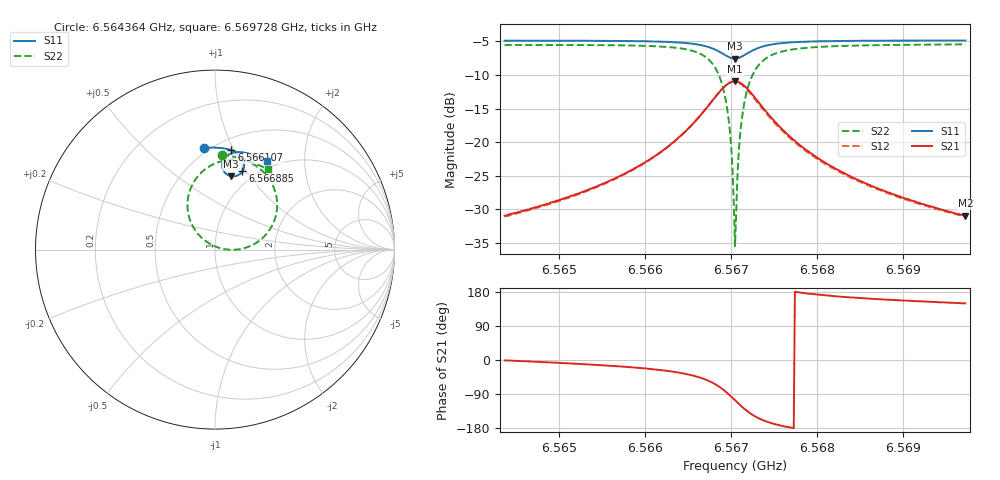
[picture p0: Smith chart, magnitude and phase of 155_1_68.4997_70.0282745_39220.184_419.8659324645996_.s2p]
#  HZ  S  RI  R  50.00
! Rohde & Schwarz Vector Network Analyzer
! Rohde-Schwarz,ZNB20-2Port,1311601062101988,3.16
! Created: UTC 3/20/2024, 4:55:32 PM
! freq[Hz]  re:S11  im:S11  re:S21  im:S21  re:S12  im:S12  re:S22  im:S22
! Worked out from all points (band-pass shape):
!   401 points, 6.564364 GHz to 6.569728 GHz, reference 50 ohm
!   highest |S21| = -10.94 dB at 6.567046 GHz (marker M1); lowest = -30.9 dB at 6.569728 GHz (marker M2)
!   |S21| within 3 dB of the highest: 6.566775 GHz to 6.567314 GHz (538.4 kHz wide, 0.0082 % of centre)
!   lowest |S11| = -7.6 dB at 6.567046 GHz (marker M3), VSWR 2.44, Z = 41.2 + j40.9 ohm
!   |S11| at or under -10 dB: nowhere
!   |S22| runs from -35.5 to -5.4 dB; largest |S21 - S12| = 0.014
!   S11 on the Smith chart (normalised r, x): 6.564364 GHz: 0.47, +0.78; 6.566107 GHz: 0.61, +0.98; 6.566885 GHz: 0.87, +0.96; 6.569728 GHz: 0.91, +1.32
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6.5643641e9  -0.0617 0.5659  0.0284 -0.000481  0.0279 -0.000981  0.0394 0.5268
6.5652626e9  0.0121 0.5679  0.0417 -0.00794  0.041 -0.00847  0.1254 0.5128
6.5661073e9  0.0914 0.5536  0.0713 -0.0328  0.0703 -0.0337  0.2373 0.4603
6.566161e9  0.0972 0.5514  0.0746 -0.0364  0.0732 -0.0372  0.2468 0.453
6.566456e9  0.1315 0.5318  0.0957 -0.0694  0.0943 -0.0708  0.3058 0.3875
6.5666705e9  0.1564 0.5001  0.1094 -0.1248  0.1068 -0.1274  0.3444 0.2804
6.5667912e9  0.1627 0.4684  0.1012 -0.1805  0.0967 -0.1838  0.3348 0.1743
6.5668851e9  0.1529 0.4367  0.0672 -0.2348  0.0592 -0.238  0.2732 0.0724
6.5669655e9  0.1267 0.4134  0.00504 -0.2721  -0.00637 -0.2722  0.1587 0.00673
6.5669924e9  0.1141 0.4093  -0.0219 -0.2777  -0.034 -0.276  0.11 -0.000876
6.5670326e9  0.0939 0.4082  -0.0648 -0.2759  -0.077 -0.2708  0.0333 0.00681
6.567046e9  0.0871 0.4093  -0.079 -0.2724  -0.0909 -0.2663  0.00854 0.0145
6.5670594e9  0.0806 0.4113  -0.0929 -0.2676  -0.1043 -0.2604  -0.0151 0.0248
6.5670728e9  0.0742 0.4139  -0.106 -0.2614  -0.1168 -0.2533  -0.0373 0.0374
6.5670996e9  0.0628 0.4212  -0.1298 -0.2459  -0.1391 -0.2359  -0.0768 0.0682
6.5671399e9  0.0499 0.4357  -0.1575 -0.2162  -0.1639 -0.2049  -0.1202 0.1241
6.5671935e9  0.0411 0.4574  -0.1783 -0.1728  -0.181 -0.1613  -0.1493 0.203
6.5672605e9  0.0413 0.4829  -0.184 -0.1232  -0.1835 -0.113  -0.1501 0.2898
6.5675019e9  0.0786 0.5311  -0.1412 -0.0279  -0.1382 -0.0237  -0.0524 0.4495
6.5679444e9  0.1414 0.543  -0.0808 0.00858  -0.079 0.00983  0.0842 0.5005
6.5688428e9  0.2254 0.5229  -0.0393 0.0151  -0.0384 0.0153  0.2148 0.4829
6.5697279e9  0.291 0.4914  -0.0244 0.0144  -0.0239 0.0145  0.2929 0.4469
